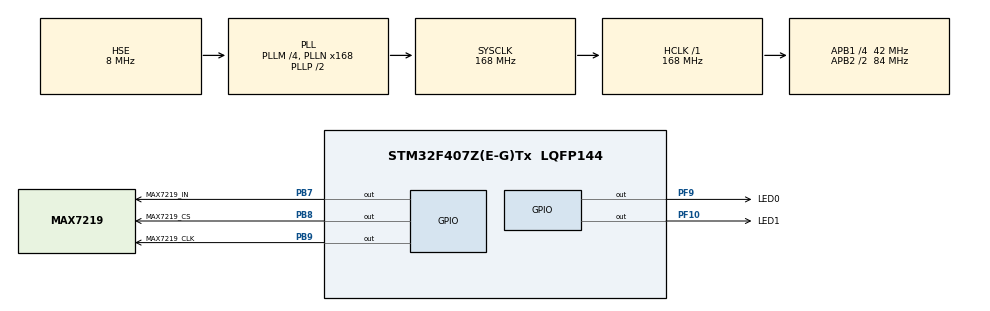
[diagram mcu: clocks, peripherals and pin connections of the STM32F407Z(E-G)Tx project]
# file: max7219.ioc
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Mcu.Family=STM32F4
Mcu.Name=STM32F407Z(E-G)Tx
Mcu.Package=LQFP144
NVIC.PriorityGroup=NVIC_PRIORITYGROUP_4
PA0-WKUP.Mode=SYS_WakeUp0
PA0-WKUP.Signal=SYS_WKUP
PA13.Mode=Serial_Wire
PA13.Signal=SYS_JTMS-SWDIO
PA14.Mode=Serial_Wire
PA14.Signal=SYS_JTCK-SWCLK
PB7.GPIO_Label=MAX7219_IN
PB7.Signal=GPIO_Output
PB8.GPIO_Label=MAX7219_CS
PB8.Signal=GPIO_Output
PB9.GPIO_Label=MAX7219_CLK
PB9.Signal=GPIO_Output
PF10.GPIO_Label=LED1
PF10.Signal=GPIO_Output
PF9.GPIO_Label=LED0
PF9.Signal=GPIO_Output
PH0-OSC_IN.Mode=HSE-External-Oscillator
PH0-OSC_IN.Signal=RCC_OSC_IN
PH1-OSC_OUT.Mode=HSE-External-Oscillator
PH1-OSC_OUT.Signal=RCC_OSC_OUT
ProjectManager.HeapSize=0x200
ProjectManager.StackSize=0x400
ProjectManager.TargetToolchain=Makefile
RCC.48MHZClocksFreq_Value=84000000
RCC.AHBFreq_Value=168000000
RCC.APB1CLKDivider=RCC_HCLK_DIV4
RCC.APB1Freq_Value=42000000
RCC.APB1TimFreq_Value=84000000
RCC.APB2CLKDivider=RCC_HCLK_DIV2
RCC.APB2Freq_Value=84000000
RCC.APB2TimFreq_Value=168000000
RCC.CortexFreq_Value=168000000
RCC.HCLKFreq_Value=168000000
RCC.HSE_VALUE=8000000
RCC.HSI_VALUE=16000000
RCC.LSE_VALUE=32768
RCC.PLLM=4
RCC.PLLN=168
RCC.PLLSourceVirtual=RCC_PLLSOURCE_HSE
RCC.SYSCLKFreq_VALUE=168000000
RCC.SYSCLKSource=RCC_SYSCLKSOURCE_PLLCLK
RCC.VCOOutputFreq_Value=336000000
board=custom

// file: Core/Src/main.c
/* USER CODE BEGIN Header */
/**
 ******************************************************************************
 * @file           : main.c
 * @brief          : Main program body
 ******************************************************************************
 * @attention
 *
 * Copyright (c) 2023 STMicroelectronics.
 * All rights reserved.
 *
 * This software is licensed under terms that can be found in the LICENSE file
 * in the root directory of this software component.
 * If no LICENSE file comes with this software, it is provided AS-IS.
 *
 ******************************************************************************
 */
/* USER CODE END Header */
#include "main.h"

/* USER CODE BEGIN Includes */
#include "max7219.h"
/* USER CODE END Includes */

void SystemClock_Config(void);
static void MX_GPIO_Init(void);

int main(void)
{

  /* MCU Configuration--------------------------------------------------------*/

  /* Reset of all peripherals, Initializes the Flash interface and the Systick. */
  HAL_Init();

  /* Configure the system clock */
  SystemClock_Config();

  /* Initialize all configured peripherals */
  MX_GPIO_Init();
  /* USER CODE BEGIN 2 */
  HAL_Delay(50);
  init_max7219();
  HAL_Delay(3000);
  /* USER CODE END 2 */

  /* Infinite loop */
  while (1)
  {

    /* USER CODE BEGIN 3 */
    HAL_GPIO_TogglePin(LED0_GPIO_Port, LED0_Pin);
    write_max7219(0x0f, 0x00); // 显示测试：1；测试结束，正常显示：0
    write_max7219(8, 0);
    HAL_Delay(1000);
    write_max7219(1, 8);
    HAL_Delay(1000);
    write_max7219(1, 0);
    write_max7219(2, 7);
    HAL_Delay(1000);
    write_max7219(2, 0);
    write_max7219(3, 6);
    HAL_Delay(1000);
    write_max7219(3, 0);
    write_max7219(4, 5);
    HAL_Delay(1000);
    write_max7219(4, 0);
    write_max7219(5, 4);
    HAL_Delay(1000);
    write_max7219(5, 0);
    write_max7219(6, 3);
    HAL_Delay(1000);
    write_max7219(6, 0);
    write_max7219(7, 2);
    HAL_Delay(1000);
    write_max7219(7, 0);
    write_max7219(8, 1);
    HAL_Delay(1000);
    write_max7219(8, 0);
    // write_max7219(0x0f, 0x01);
    HAL_GPIO_TogglePin(LED1_GPIO_Port, LED1_Pin);
    HAL_Delay(1000);
  }
  /* USER CODE END 3 */
}

void SystemClock_Config(void)
{
  RCC_OscInitTypeDef RCC_OscInitStruct = {0};
  RCC_ClkInitTypeDef RCC_ClkInitStruct = {0};

  /** Configure the main internal regulator output voltage
   */
  __HAL_RCC_PWR_CLK_ENABLE();
  __HAL_PWR_VOLTAGESCALING_CONFIG(PWR_REGULATOR_VOLTAGE_SCALE1);

  /** Initializes the RCC Oscillators according to the specified parameters
   * in the RCC_OscInitTypeDef structure.
   */
  RCC_OscInitStruct.OscillatorType = RCC_OSCILLATORTYPE_HSE;
  RCC_OscInitStruct.HSEState = RCC_HSE_ON;
  RCC_OscInitStruct.PLL.PLLState = RCC_PLL_ON;
  RCC_OscInitStruct.PLL.PLLSource = RCC_PLLSOURCE_HSE;
  RCC_OscInitStruct.PLL.PLLM = 4;
  RCC_OscInitStruct.PLL.PLLN = 168;
  RCC_OscInitStruct.PLL.PLLP = RCC_PLLP_DIV2;
  RCC_OscInitStruct.PLL.PLLQ = 4;
  if (HAL_RCC_OscConfig(&RCC_OscInitStruct) != HAL_OK)
  {
    Error_Handler();
  }

  /** Initializes the CPU, AHB and APB buses clocks
   */
  RCC_ClkInitStruct.ClockType = RCC_CLOCKTYPE_HCLK | RCC_CLOCKTYPE_SYSCLK | RCC_CLOCKTYPE_PCLK1 | RCC_CLOCKTYPE_PCLK2;
  RCC_ClkInitStruct.SYSCLKSource = RCC_SYSCLKSOURCE_PLLCLK;
  RCC_ClkInitStruct.AHBCLKDivider = RCC_SYSCLK_DIV1;
  RCC_ClkInitStruct.APB1CLKDivider = RCC_HCLK_DIV4;
  RCC_ClkInitStruct.APB2CLKDivider = RCC_HCLK_DIV2;

  if (HAL_RCC_ClockConfig(&RCC_ClkInitStruct, FLASH_LATENCY_5) != HAL_OK)
  {
    Error_Handler();
  }
}

static void MX_GPIO_Init(void)
{
  GPIO_InitTypeDef GPIO_InitStruct = {0};

  /* GPIO Ports Clock Enable */
  __HAL_RCC_GPIOF_CLK_ENABLE();
  __HAL_RCC_GPIOH_CLK_ENABLE();
  __HAL_RCC_GPIOA_CLK_ENABLE();
  __HAL_RCC_GPIOB_CLK_ENABLE();

  /*Configure GPIO pin Output Level */
  HAL_GPIO_WritePin(GPIOF, LED0_Pin | LED1_Pin, GPIO_PIN_RESET);

  /*Configure GPIO pin Output Level */
  HAL_GPIO_WritePin(GPIOB, MAX7219_IN_Pin | MAX7219_CS_Pin | MAX7219_CLK_Pin, GPIO_PIN_RESET);

  /*Configure GPIO pins : LED0_Pin LED1_Pin */
  GPIO_InitStruct.Pin = LED0_Pin | LED1_Pin;
  GPIO_InitStruct.Mode = GPIO_MODE_OUTPUT_PP;
  GPIO_InitStruct.Pull = GPIO_NOPULL;
  GPIO_InitStruct.Speed = GPIO_SPEED_FREQ_LOW;
  HAL_GPIO_Init(GPIOF, &GPIO_InitStruct);

  /*Configure GPIO pins : MAX7219_IN_Pin MAX7219_CS_Pin MAX7219_CLK_Pin */
  GPIO_InitStruct.Pin = MAX7219_IN_Pin | MAX7219_CS_Pin | MAX7219_CLK_Pin;
  GPIO_InitStruct.Mode = GPIO_MODE_OUTPUT_PP;
  GPIO_InitStruct.Pull = GPIO_NOPULL;
  GPIO_InitStruct.Speed = GPIO_SPEED_FREQ_LOW;
  HAL_GPIO_Init(GPIOB, &GPIO_InitStruct);

}

void Error_Handler(void)
{
  __disable_irq();
  while (1)
  {
  }
}
